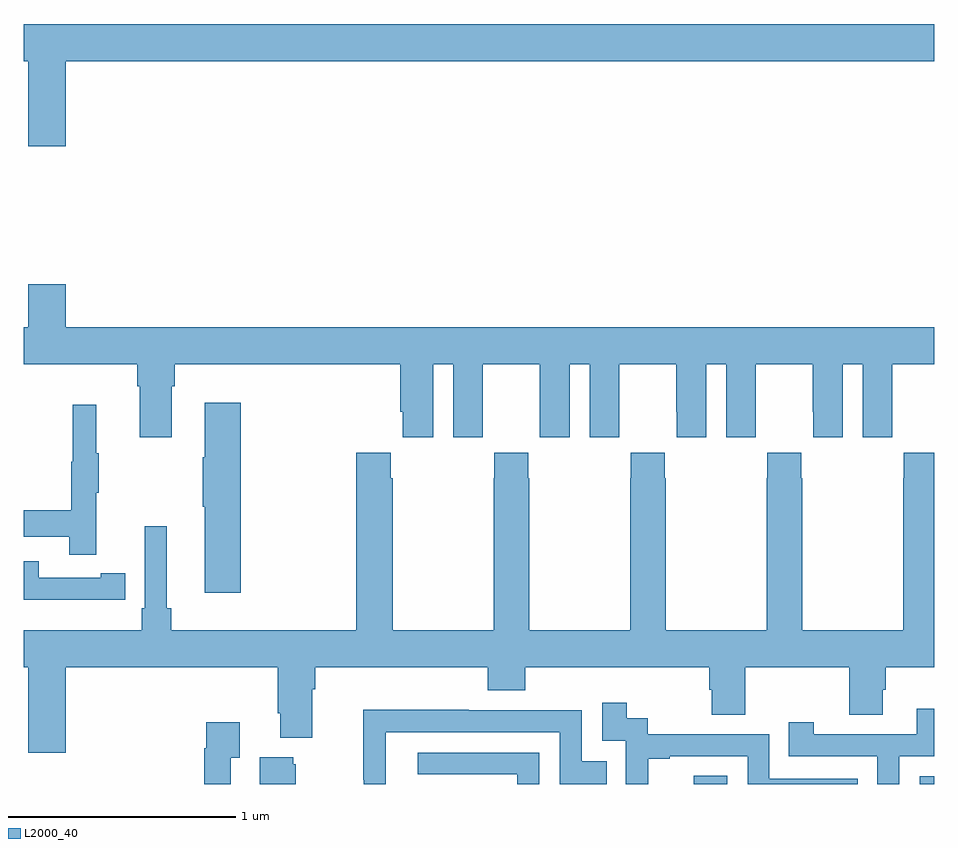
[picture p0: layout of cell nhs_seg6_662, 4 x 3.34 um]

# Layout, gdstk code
import gdstk
lib = gdstk.Library(unit=1e-6, precision=1e-09)
def R(c, l, rs):  # rectangles x0, y0, x1, y1
    for r in rs: c.add(gdstk.rectangle(r[:2], r[2:], *l))
def P(c, l, *ps):  # polygons
    for p in ps: c.add(gdstk.Polygon(p, *l))
L2000_40 = (2000, 40)

nhs_seg6_662 = lib.new_cell('nhs_seg6_662')
R(nhs_seg6_662, L2000_40, [(155.943,937.5,156.09,937.537), (156.936,937.5,157,937.533)])
P(nhs_seg6_662, L2000_40, [(153,940.676),(153.02,940.676),(153.02,940.302),(153.184,940.302),(153.184,940.676),(157,940.676),(157,940.84),(153,940.84)],
  [(153.649,939.248),(153.662,939.248),(153.662,939.344),(154.655,939.344),(154.655,939.136),(154.664,939.136),(154.664,939.024),(154.798,939.024),(154.798,939.344),(154.886,939.344),(154.886,939.024),(155.016,939.024),(155.016,939.136),(155.017,939.136),(155.017,939.344),(155.267,939.344),(155.267,939.136),(155.268,939.136),(155.268,939.024),(155.398,939.024),(155.398,939.344),(155.486,939.344),(155.486,939.024),(155.616,939.024),(155.616,939.136),(155.617,939.136),(155.617,939.344),(155.867,939.344),(155.867,939.136),(155.868,939.136),(155.868,939.024),(155.998,939.024),(155.998,939.344),(156.086,939.344),(156.086,939.024),(156.216,939.024),(156.216,939.136),(156.217,939.136),(156.217,939.344),(156.467,939.344),(156.467,939.136),(156.468,939.136),(156.468,939.024),(156.598,939.024),(156.598,939.344),(156.686,939.344),(156.686,939.024),(156.816,939.024),(156.816,939.136),(156.817,939.136),(156.817,939.344),(157,939.344),(157,939.508),(153.184,939.508),(153.184,939.697),(153.02,939.697),(153.02,939.508),(153,939.508),(153,939.344),(153.497,939.344),(153.497,939.248),(153.509,939.248),(153.509,939.024),(153.649,939.024)],
  [(153.953,939.175),(153.794,939.175),(153.794,938.936),(153.787,938.936),(153.787,938.719),(153.794,938.719),(153.794,938.34),(153.953,938.34)],
  [(153.317,938.779),(153.328,938.779),(153.328,938.953),(153.317,938.953),(153.317,939.166),(153.214,939.166),(153.214,938.916),(153.207,938.916),(153.207,938.702),(153,938.702),(153,938.586),(153.199,938.586),(153.199,938.508),(153.317,938.508)],
  [(153.184,938.012),(154.115,938.012),(154.115,937.81),(154.127,937.81),(154.127,937.703),(154.267,937.703),(154.267,937.916),(154.28,937.916),(154.28,938.012),(155.039,938.012),(155.039,937.913),(155.204,937.913),(155.204,938.012),(156.011,938.012),(156.011,937.914),(156.023,937.914),(156.023,937.804),(156.171,937.804),(156.171,938.012),(156.628,938.012),(156.628,937.804),(156.775,937.804),(156.775,937.914),(156.788,937.914),(156.788,938.012),(157,938.012),(157,938.956),(156.867,938.956),(156.867,938.843),(156.865,938.843),(156.865,938.176),(156.42,938.176),(156.42,938.843),(156.417,938.843),(156.417,938.956),(156.267,938.956),(156.267,938.843),(156.265,938.843),(156.265,938.176),(155.82,938.176),(155.82,938.843),(155.817,938.843),(155.817,938.956),(155.667,938.956),(155.667,938.843),(155.665,938.843),(155.665,938.176),(155.22,938.176),(155.22,938.843),(155.217,938.843),(155.217,938.956),(155.067,938.956),(155.067,938.843),(155.065,938.843),(155.065,938.176),(154.62,938.176),(154.62,938.843),(154.613,938.843),(154.613,938.956),(154.46,938.956),(154.46,938.176),(153.647,938.176),(153.647,938.272),(153.628,938.272),(153.628,938.632),(153.531,938.632),(153.531,938.272),(153.518,938.272),(153.518,938.176),(153,938.176),(153,938.012),(153.02,938.012),(153.02,937.638),(153.184,937.638)],
  [(153.338,938.31),(153.446,938.31),(153.446,938.426),(153.338,938.426),(153.338,938.406),(153.066,938.406),(153.066,938.478),(153,938.478),(153,938.309),(153.338,938.309)],
  [(155.744,937.611),(155.839,937.611),(155.839,937.623),(156.18,937.623),(156.18,937.5),(156.665,937.5),(156.665,937.524),(156.276,937.524),(156.276,937.719),(155.742,937.719),(155.742,937.788),(155.65,937.788),(155.65,937.858),(155.541,937.858),(155.541,937.689),(155.646,937.689),(155.646,937.5),(155.744,937.5)],
  [(156.846,937.623),(157,937.623),(157,937.831),(156.923,937.831),(156.923,937.719),(156.472,937.719),(156.472,937.771),(156.361,937.771),(156.361,937.623),(156.75,937.623),(156.75,937.5),(156.846,937.5)],
  [(154.59,937.728),(155.355,937.728),(155.355,937.5),(155.561,937.5),(155.561,937.599),(155.451,937.599),(155.451,937.824),(154.955,937.824),(154.955,937.826),(154.492,937.826),(154.492,937.519),(154.494,937.519),(154.494,937.5),(154.59,937.5)],
  [(153.909,937.615),(153.949,937.615),(153.949,937.771),(153.801,937.771),(153.801,937.658),(153.793,937.658),(153.793,937.5),(153.909,937.5)],
  [(155.265,937.638),(154.731,937.638),(154.731,937.542),(155.169,937.542),(155.169,937.5),(155.265,937.5)],
  [(154.195,937.587),(154.184,937.587),(154.184,937.618),(154.037,937.618),(154.037,937.5),(154.195,937.5)])

lib.write_gds('nhs_seg6_662.gds')
